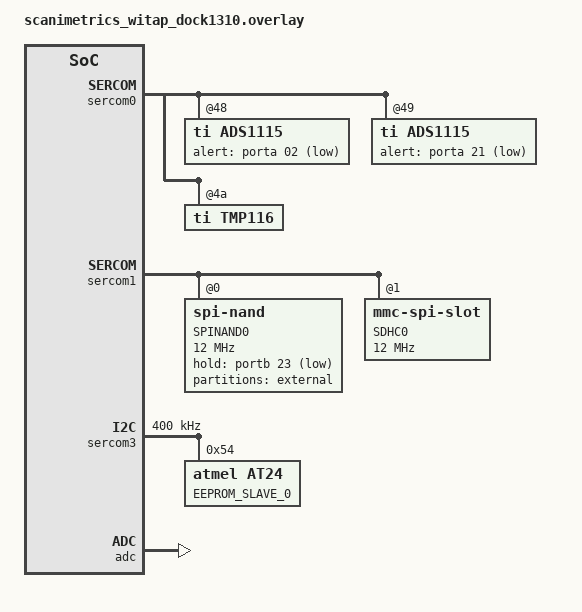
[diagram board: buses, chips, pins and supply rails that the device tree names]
/*
 * Copyright (c) 2020 Scanimetrics Inc.
 *
 * SPDX-License-Identifier: Apache-2.0
 */

#include <dt-bindings/gpio/gpio.h>

/ {
	debugs {
		compatible = "gpio";
		debug0: debug_0 {
			gpios = <&porta 6 0>;
			label = "DEBUG0";
		};
		debug1: debug_1 {
			gpios = <&portb 3 0>;
			label = "DEBUG1";
		};
	};

	aliases {
		debug0 = &debug0;
		debug1 = &debug1;
		led-mono = &led0;
		adcint1 = &a0;
		adcint2 = &d7;
		sensor1-en = &a5;
		sensor2-en = &a2;
		sensor1-pwr-en = &a3;
		sensor2-pwr-en = &a1;
		bat-sense = &a4;
		ext-int1 = &a6;
		s3-sda = &d0;
		s3-scl = &d1;
		fram-cs = &d2;
		flash-cs = &d3;
		sd-cs = &d4;
		sd-pwr-en = &d5;
		s0-sda = &d11;
		s0-scl = &d12;
		hold = &d13;
		ts-int = &d14;
	};
};

&sercom0 {
	clock-frequency = <I2C_BITRATE_FAST>;

	ads1115_0: ads1115@48 {
		compatible = "ti,ads1115";
		reg = <0x48>;
		label = "ADS1115";
		#io-channel-cells = <4>;
		alert-gpios = <&porta 02 (GPIO_PULL_UP | GPIO_ACTIVE_LOW)>;
	};

	ads1115_1: ads1115@49 {
		compatible = "ti,ads1115";
		reg = <0x49>;
		label = "ADS1115";
		#io-channel-cells = <4>;
		alert-gpios = <&porta 21 (GPIO_PULL_UP | GPIO_ACTIVE_LOW)>;
	};

	tmp116: tmp116@4a {
		compatible = "ti,tmp116";
		reg = <0x4a>;
		label = "TMP116";
	};
};

&sercom1 {
	cs-gpios = <&porta 11 GPIO_ACTIVE_LOW>, <&portb 10 GPIO_ACTIVE_LOW>;

	/* NAND flash */
	flash1: flash@0 {
		compatible = "jedec,spi-nand";
		label = "SPINAND0";
		jedec-id = [98 cd];
		size = <0x20000000>;
		spi-max-frequency = <12000000>;
		reg = <0>;
		hold-gpios = <&portb 23 GPIO_ACTIVE_LOW>;
		spi-transfer-mode = <3>;
	};

	/* SD Card */
        sdhc0: sdhc@1 {
                compatible = "zephyr,mmc-spi-slot";
                reg = <1>;
                status = "okay";
                label = "SDHC0";
                spi-max-frequency = <12000000>;
        };
};

&sercom2 {
};

/*  SERCOM3 is used for board to board i2c communication  */
/*  The dock is the master  */
/*  The ISB is the slave and emulates an AT24 EEPROM  */
&sercom3 {
	status = "okay";
	compatible = "atmel,sam0-i2c";
	#address-cells = <1>;
	#size-cells = <0>;
	clocks = <&gclk0 0x17>, <&pm 0x20 5>;
	clock-names = "GCLK", "PM";
	clock-frequency = <I2C_BITRATE_FAST>;

	eeprom@54 {
		compatible = "atmel,at24";
		reg = <0x54>;
		label = "EEPROM_SLAVE_0";
		size = <256>;
		pagesize = <16>;
		address-width = <8>;
		timeout = <5>;
	};
};

&sercom4 {
};

&sercom5 {
};

&usb0 {
};

&rtc {
};

&adc {
	status = "okay";
};

/* NAND flash partition table */
&flash1 {
	partitions {
		compatible = "fixed-partitions";
		#address-cells = <1>;
		#size-cells = <1>;

		external_partition: partition@0 {
			label = "external";
			reg = <0x00000000 0x20000000>;
		};
	};

};
